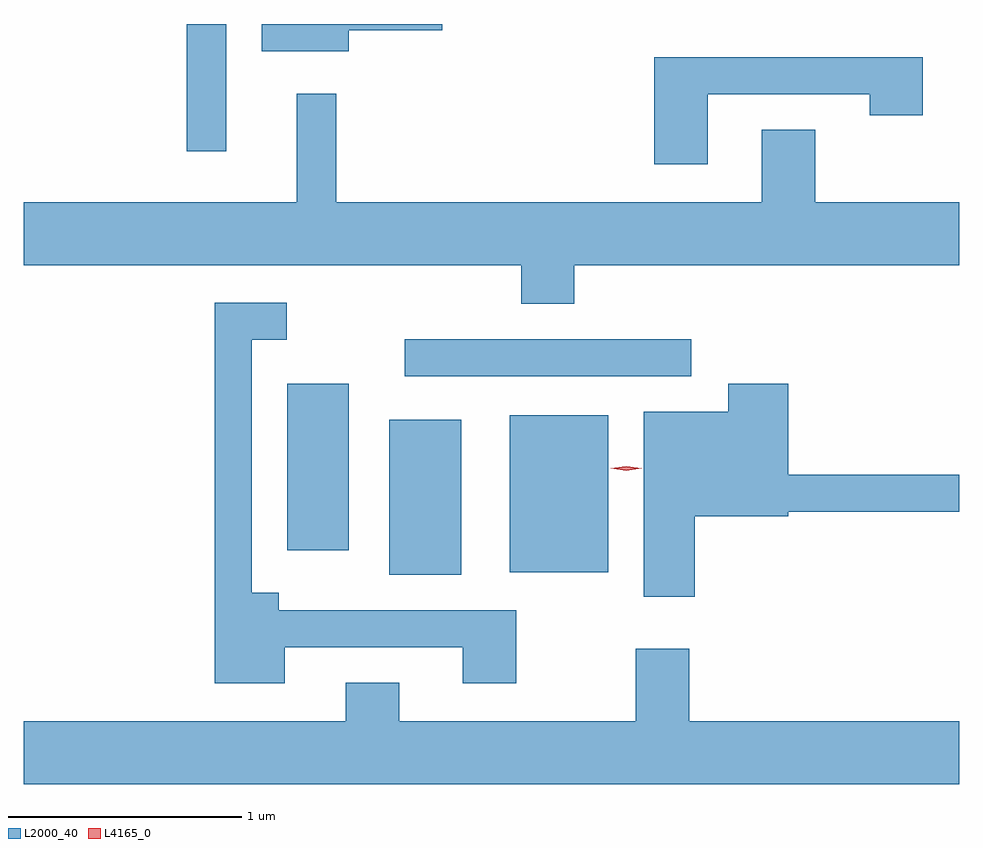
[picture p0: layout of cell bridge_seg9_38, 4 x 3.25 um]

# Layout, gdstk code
import gdstk
lib = gdstk.Library(unit=1e-6, precision=1e-09)
def R(c, l, rs):  # rectangles x0, y0, x1, y1
    for r in rs: c.add(gdstk.rectangle(r[:2], r[2:], *l))
def P(c, l, *ps):  # polygons
    for p in ps: c.add(gdstk.Polygon(p, *l))
L2000_40 = (2000, 40)
L4165_0 = (4165, 0)

bridge_seg9_38 = lib.new_cell('bridge_seg9_38')
R(bridge_seg9_38, L2000_40, [(1656.816,2052.651,1657.124,2053.314), (1657.331,2052.661,1657.754,2053.334), (1656.381,2052.756,1656.644,2053.469), (1656.883,2053.501,1658.108,2053.659), (1655.951,2054.463,1656.119,2055.007)])
P(bridge_seg9_38, L2000_40, [(1656.644,2054.981),(1657.044,2054.981),(1657.044,2055.007),(1656.271,2055.007),(1656.271,2054.891),(1656.644,2054.891)],
  [(1658.179,2054.706),(1658.871,2054.706),(1658.871,2054.616),(1659.099,2054.616),(1659.099,2054.864),(1657.951,2054.864),(1657.951,2054.406),(1658.179,2054.406)],
  [(1657.609,2053.976),(1659.254,2053.976),(1659.254,2054.244),(1658.639,2054.244),(1658.639,2054.554),(1658.411,2054.554),(1658.411,2054.244),(1656.589,2054.244),(1656.589,2054.708),(1656.421,2054.708),(1656.421,2054.244),(1655.254,2054.244),(1655.254,2053.976),(1657.381,2053.976),(1657.381,2053.811),(1657.609,2053.811)],
  [(1656.369,2052.341),(1657.131,2052.341),(1657.131,2052.186),(1657.359,2052.186),(1657.359,2052.499),(1656.344,2052.499),(1656.344,2052.574),(1656.229,2052.574),(1656.229,2053.656),(1656.378,2053.656),(1656.378,2053.814),(1656.071,2053.814),(1656.071,2052.186),(1656.369,2052.186)],
  [(1658.124,2052.901),(1658.524,2052.901),(1658.524,2052.921),(1659.254,2052.921),(1659.254,2053.079),(1658.524,2053.079),(1658.524,2053.469),(1658.266,2053.469),(1658.266,2053.349),(1657.906,2053.349),(1657.906,2052.556),(1658.124,2052.556)],
  [(1659.254,2052.024),(1658.099,2052.024),(1658.099,2052.334),(1657.871,2052.334),(1657.871,2052.024),(1656.859,2052.024),(1656.859,2052.189),(1656.631,2052.189),(1656.631,2052.024),(1655.254,2052.024),(1655.254,2051.756),(1659.254,2051.756)])
P(bridge_seg9_38, L4165_0, [(1657.83,2053.096),(1657.764,2053.106),(1657.763,2053.106),(1657.764,2053.106),(1657.83,2053.116),(1657.896,2053.106),(1657.897,2053.106),(1657.896,2053.106)])

lib.write_gds('bridge_seg9_38.gds')
